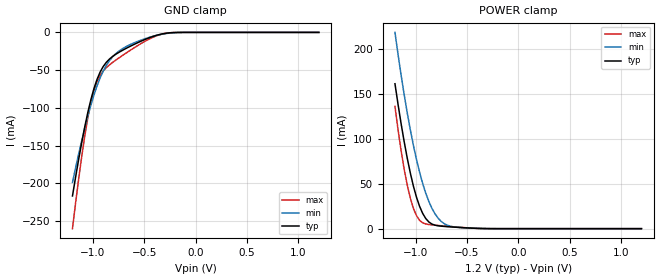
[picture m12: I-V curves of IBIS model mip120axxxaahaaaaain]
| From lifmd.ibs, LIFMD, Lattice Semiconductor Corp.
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|   Model mip120axxxaahaaaaain
[Model] mip120axxxaahaaaaain
Model_type Input
Polarity   Non-Inverting
Vinl =  0.165V
Vinh =  0.235V
C_comp   5.000pF   4.000pF   5.500pF
[Temperature Range]   25.000   0.125k   -40.000
[Voltage Range]   1.200V   1.140V   1.260V
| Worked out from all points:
|   GND clamp passes 1 mA (typ) near -0.28 V on its own axis
|   POWER clamp passes 1 mA (typ) near -0.52 V on its own axis
[GND_clamp]
|Voltage   I(typ)   I(min)   I(max)
-1.2V     -216.6mA   -198.7mA   -259.9mA
-1.11V    -145.9mA   -143.4mA   -164.4mA
-1.05V    -105.7mA   -110.7mA   -112.8mA
-1.02V    -88.66mA   -96.01mA   -92.49mA
-960mV    -61.91mA   -70.56mA   -64.86mA
-900mV    -45.07mA   -51.09mA   -50.9mA
-840mV    -35.33mA   -37.47mA   -43mA
-750mV    -26.58mA   -25.04mA   -34mA
-630mV    -17.89mA   -15.63mA   -23.08mA
-420mV    -5.529mA   -5.29mA    -6.682mA
-270mV    -837.6uA   -1.179mA   -759.5uA
1.2V      0A         0A         0A
[POWER_clamp]
|Voltage   I(typ)   I(min)   I(max)
-1.2V     161.1mA    218.2mA    135.9mA
-1.14V    116.5mA    170.5mA    86.5mA
-1.11V    96.46mA    148.8mA    65.87mA
-1.05V    61.59mA    109.6mA    33.64mA
-1.02V    47.05mA    92.3mA     22.4mA
-960mV    24.72mA    62.54mA    9.234mA
-900mV    11.22mA    39.35mA    5.206mA
-840mV    5.123mA    22.57mA    4.174mA
-750mV    2.784mA    8.066mA    3.221mA
-660mV    1.982mA    2.683mA    2.338mA
-420mV    423uA      451.6uA    420.5uA
1.2V      0A         0A         0A
